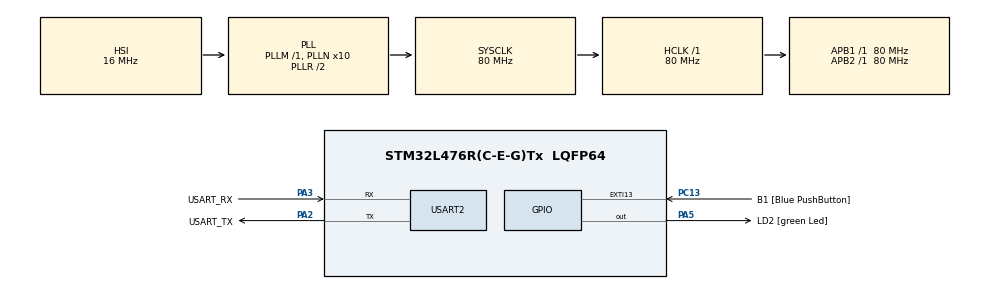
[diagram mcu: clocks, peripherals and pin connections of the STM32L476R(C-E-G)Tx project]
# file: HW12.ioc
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Mcu.Family=STM32L4
Mcu.Name=STM32L476R(C-E-G)Tx
Mcu.Package=LQFP64
NVIC.PriorityGroup=NVIC_PRIORITYGROUP_4
PA13\ (JTMS-SWDIO).GPIO_Label=TMS
PA13\ (JTMS-SWDIO).Mode=Serial_Wire
PA13\ (JTMS-SWDIO).Signal=SYS_JTMS-SWDIO
PA14\ (JTCK-SWCLK).GPIO_Label=TCK
PA14\ (JTCK-SWCLK).Mode=Serial_Wire
PA14\ (JTCK-SWCLK).Signal=SYS_JTCK-SWCLK
PA2.GPIO_Label=USART_TX
PA2.GPIO_Mode=GPIO_MODE_AF_PP
PA2.GPIO_PuPd=GPIO_NOPULL
PA2.GPIO_Speed=GPIO_SPEED_FREQ_VERY_HIGH
PA2.Mode=Asynchronous
PA2.Signal=USART2_TX
PA3.GPIO_Label=USART_RX
PA3.GPIO_Mode=GPIO_MODE_AF_PP
PA3.GPIO_PuPd=GPIO_NOPULL
PA3.GPIO_Speed=GPIO_SPEED_FREQ_VERY_HIGH
PA3.Mode=Asynchronous
PA3.Signal=USART2_RX
PA5.GPIO_Label=LD2 [green Led]
PA5.GPIO_ModeDefaultOutputPP=GPIO_MODE_OUTPUT_PP
PA5.GPIO_PuPd=GPIO_NOPULL
PA5.GPIO_Speed=GPIO_SPEED_FREQ_LOW
PA5.Signal=GPIO_Output
PB3\ (JTDO-TRACESWO).GPIO_Label=SWO
PB3\ (JTDO-TRACESWO).Signal=SYS_JTDO-SWO
PB8.GPIO_Label=CAN_RX
PB8.GPIO_Mode=GPIO_MODE_AF_PP
PB8.GPIO_PuPd=GPIO_PULLUP
PB8.GPIO_Speed=GPIO_SPEED_FREQ_VERY_HIGH
PB8.Signal=CAN1_RX
PB9.GPIO_Label=CAN_TX
PB9.GPIO_Mode=GPIO_MODE_AF_PP
PB9.GPIO_PuPd=GPIO_PULLUP
PB9.GPIO_Speed=GPIO_SPEED_FREQ_VERY_HIGH
PB9.Signal=CAN1_TX
PC13.GPIO_Label=B1 [Blue PushButton]
PC13.GPIO_ModeDefaultEXTI=GPIO_MODE_IT_FALLING
PC13.GPIO_PuPd=GPIO_NOPULL
PC13.Signal=GPXTI13
PC14-OSC32_IN\ (PC14).Mode=LSE-External-Oscillator
PC14-OSC32_IN\ (PC14).Signal=RCC_OSC32_IN
PC15-OSC32_OUT\ (PC15).Mode=LSE-External-Oscillator
PC15-OSC32_OUT\ (PC15).Signal=RCC_OSC32_OUT
PH0-OSC_IN\ (PH0).Signal=RCC_OSC_IN
PH1-OSC_OUT\ (PH1).Signal=RCC_OSC_OUT
ProjectManager.HeapSize=0x200
ProjectManager.StackSize=0x400
ProjectManager.TargetToolchain=CMake
RCC.ADCFreq_Value=64000000
RCC.AHBFreq_Value=80000000
RCC.APB1Freq_Value=80000000
RCC.APB1TimFreq_Value=80000000
RCC.APB2Freq_Value=80000000
RCC.APB2TimFreq_Value=80000000
RCC.CortexFreq_Value=80000000
RCC.HCLKFreq_Value=80000000
RCC.HSE_VALUE=8000000
RCC.HSI_VALUE=16000000
RCC.MSI_VALUE=4000000
RCC.PLLN=10
RCC.PLLSourceVirtual=RCC_PLLSOURCE_HSI
RCC.PREFETCH_ENABLE=1
RCC.SYSCLKFreq_VALUE=80000000
RCC.SYSCLKSource=RCC_SYSCLKSOURCE_PLLCLK
RCC.USBFreq_Value=64000000
RCC.VCOOutputFreq_Value=160000000
USART2.VirtualMode-Asynchronous=VM_ASYNC
board=NUCLEO-L476RG

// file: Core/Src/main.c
/* USER CODE BEGIN Header */
/**
  ******************************************************************************
  * @file           : main.c
  * @brief          : Main program body
  ******************************************************************************
  * @attention
  *
  * Copyright (c) 2026 STMicroelectronics.
  * All rights reserved.
  *
  * This software is licensed under terms that can be found in the LICENSE file
  * in the root directory of this software component.
  * If no LICENSE file comes with this software, it is provided AS-IS.
  *
  ******************************************************************************
  */
/* USER CODE END Header */
#include "main.h"

/* USER CODE BEGIN Includes */
#include <stdio.h>
#include <string.h>

/* USER CODE END Includes */

/* USER CODE BEGIN PD */
#define CAN_MESSAGE_ID          0x433U
#define CAN_SELF_TEST_ID        0x55AU
#define CAN_BAUD_RATE          250000U
#define BUTTON_DEBOUNCE_MS     200U
#define CAN_SELF_TEST_TIMEOUT_MS 200U
#define CAN_TX_TIMEOUT_MS      1000U
#define UART_TX_TIMEOUT_MS     100U

/* USER CODE END PD */

CAN_HandleTypeDef hcan1;

UART_HandleTypeDef huart2;

/* USER CODE BEGIN PV */
static CAN_TxHeaderTypeDef TxHeader;
static CAN_RxHeaderTypeDef RxHeader;
static uint8_t TxData[8] = { 'H', 'W', '1', '2', 'L', '4', '7', '6' };
static uint8_t SelfTestData[8] = { 'L', 'O', 'O', 'P', 'B', 'A', 'C', 'K' };
static uint8_t RxData[8];
static uint32_t TxMailbox;
static uint8_t TxPending;
static uint32_t TxStartTick;

/* USER CODE END PV */

void SystemClock_Config(void);
static void MX_CAN1_Init(void);
static void MX_GPIO_Init(void);
static void MX_USART2_UART_Init(void);
/* USER CODE BEGIN PFP */
static void CAN_InitForMode(uint32_t mode);
static void CAN_ConfigFilter(void);
static void CAN_ConfigNormalMode(void);
static uint8_t CAN_InternalLoopbackSelfTest(void);
static void CAN_PollReceive(void);
static void CAN_SendButtonMessage(void);
static void CAN_ServiceTxStatus(void);
static uint8_t ButtonPressed(void);
static void UART_Print(const char *message);
static void UART_PrintFrame(const char *prefix, const CAN_RxHeaderTypeDef *header, const uint8_t *data);
static void UART_PrintTxFrame(const char *prefix, const CAN_TxHeaderTypeDef *header, const uint8_t *data);

/* USER CODE END PFP */

int main(void)
{

  /* MCU Configuration--------------------------------------------------------*/

  /* Reset of all peripherals, Initializes the Flash interface and the Systick. */
  HAL_Init();

  /* Configure the system clock */
  SystemClock_Config();

  /* Initialize all configured peripherals */
  MX_GPIO_Init();
  MX_USART2_UART_Init();
  MX_CAN1_Init();
  /* USER CODE BEGIN 2 */
  if (CAN_InternalLoopbackSelfTest() != 0U)
  {
    UART_Print("CAN INTERNAL LOOPBACK PASS\r\n");
  }
  else
  {
    UART_Print("CAN INTERNAL LOOPBACK FAIL\r\n");
  }

  CAN_ConfigNormalMode();
  UART_Print("\r\nHW12 CAN ready: CAN1 PB8/PB9, 250 kbit/s, ID 0x433\r\n");

  /* USER CODE END 2 */

  /* Infinite loop */
  while (1)
  {

    /* USER CODE BEGIN 3 */
    CAN_PollReceive();
    CAN_ServiceTxStatus();

    if (ButtonPressed())
    {
      CAN_SendButtonMessage();
    }
  }
  /* USER CODE END 3 */
}

static void MX_CAN1_Init(void)
{

  CAN_InitForMode(CAN_MODE_NORMAL);

}

void SystemClock_Config(void)
{
  RCC_OscInitTypeDef RCC_OscInitStruct = {0};
  RCC_ClkInitTypeDef RCC_ClkInitStruct = {0};

  /** Configure the main internal regulator output voltage
  */
  if (HAL_PWREx_ControlVoltageScaling(PWR_REGULATOR_VOLTAGE_SCALE1) != HAL_OK)
  {
    Error_Handler();
  }

  /** Initializes the RCC Oscillators according to the specified parameters
  * in the RCC_OscInitTypeDef structure.
  */
  RCC_OscInitStruct.OscillatorType = RCC_OSCILLATORTYPE_HSI;
  RCC_OscInitStruct.HSIState = RCC_HSI_ON;
  RCC_OscInitStruct.HSICalibrationValue = RCC_HSICALIBRATION_DEFAULT;
  RCC_OscInitStruct.PLL.PLLState = RCC_PLL_ON;
  RCC_OscInitStruct.PLL.PLLSource = RCC_PLLSOURCE_HSI;
  RCC_OscInitStruct.PLL.PLLM = 1;
  RCC_OscInitStruct.PLL.PLLN = 10;
  RCC_OscInitStruct.PLL.PLLP = RCC_PLLP_DIV7;
  RCC_OscInitStruct.PLL.PLLQ = RCC_PLLQ_DIV2;
  RCC_OscInitStruct.PLL.PLLR = RCC_PLLR_DIV2;
  if (HAL_RCC_OscConfig(&RCC_OscInitStruct) != HAL_OK)
  {
    Error_Handler();
  }

  /** Initializes the CPU, AHB and APB buses clocks
  */
  RCC_ClkInitStruct.ClockType = RCC_CLOCKTYPE_HCLK|RCC_CLOCKTYPE_SYSCLK
                              |RCC_CLOCKTYPE_PCLK1|RCC_CLOCKTYPE_PCLK2;
  RCC_ClkInitStruct.SYSCLKSource = RCC_SYSCLKSOURCE_PLLCLK;
  RCC_ClkInitStruct.AHBCLKDivider = RCC_SYSCLK_DIV1;
  RCC_ClkInitStruct.APB1CLKDivider = RCC_HCLK_DIV1;
  RCC_ClkInitStruct.APB2CLKDivider = RCC_HCLK_DIV1;

  if (HAL_RCC_ClockConfig(&RCC_ClkInitStruct, FLASH_LATENCY_4) != HAL_OK)
  {
    Error_Handler();
  }
}

static void MX_USART2_UART_Init(void)
{

  huart2.Instance = USART2;
  huart2.Init.BaudRate = 115200;
  huart2.Init.WordLength = UART_WORDLENGTH_8B;
  huart2.Init.StopBits = UART_STOPBITS_1;
  huart2.Init.Parity = UART_PARITY_NONE;
  huart2.Init.Mode = UART_MODE_TX_RX;
  huart2.Init.HwFlowCtl = UART_HWCONTROL_NONE;
  huart2.Init.OverSampling = UART_OVERSAMPLING_16;
  huart2.Init.OneBitSampling = UART_ONE_BIT_SAMPLE_DISABLE;
  huart2.AdvancedInit.AdvFeatureInit = UART_ADVFEATURE_NO_INIT;
  if (HAL_UART_Init(&huart2) != HAL_OK)
  {
    Error_Handler();
  }

}

static void MX_GPIO_Init(void)
{
  GPIO_InitTypeDef GPIO_InitStruct = {0};

  /* GPIO Ports Clock Enable */
  __HAL_RCC_GPIOC_CLK_ENABLE();
  __HAL_RCC_GPIOH_CLK_ENABLE();
  __HAL_RCC_GPIOA_CLK_ENABLE();
  __HAL_RCC_GPIOB_CLK_ENABLE();

  /*Configure GPIO pin Output Level */
  HAL_GPIO_WritePin(LD2_GPIO_Port, LD2_Pin, GPIO_PIN_RESET);

  /*Configure GPIO pin : B1_Pin */
  GPIO_InitStruct.Pin = B1_Pin;
  GPIO_InitStruct.Mode = GPIO_MODE_IT_FALLING;
  GPIO_InitStruct.Pull = GPIO_NOPULL;
  HAL_GPIO_Init(B1_GPIO_Port, &GPIO_InitStruct);

  /*Configure GPIO pin : LD2_Pin */
  GPIO_InitStruct.Pin = LD2_Pin;
  GPIO_InitStruct.Mode = GPIO_MODE_OUTPUT_PP;
  GPIO_InitStruct.Pull = GPIO_NOPULL;
  GPIO_InitStruct.Speed = GPIO_SPEED_FREQ_LOW;
  HAL_GPIO_Init(LD2_GPIO_Port, &GPIO_InitStruct);

}

/* USER CODE BEGIN 4 */
static void CAN_InitForMode(uint32_t mode)
{
  hcan1.Instance = CAN1;
  hcan1.Init.Prescaler = 20;
  hcan1.Init.Mode = mode;
  hcan1.Init.SyncJumpWidth = CAN_SJW_1TQ;
  hcan1.Init.TimeSeg1 = CAN_BS1_13TQ;
  hcan1.Init.TimeSeg2 = CAN_BS2_2TQ;
  hcan1.Init.TimeTriggeredMode = DISABLE;
  hcan1.Init.AutoBusOff = ENABLE;
  hcan1.Init.AutoWakeUp = DISABLE;
  hcan1.Init.AutoRetransmission = ENABLE;
  hcan1.Init.ReceiveFifoLocked = DISABLE;
  hcan1.Init.TransmitFifoPriority = DISABLE;

  if (HAL_CAN_Init(&hcan1) != HAL_OK)
  {
    Error_Handler();
  }
}

static void CAN_ConfigFilter(void)
{
  CAN_FilterTypeDef filter = {0};

  filter.FilterBank = 0;
  filter.FilterMode = CAN_FILTERMODE_IDMASK;
  filter.FilterScale = CAN_FILTERSCALE_32BIT;
  filter.FilterIdHigh = 0x0000;
  filter.FilterIdLow = 0x0000;
  filter.FilterMaskIdHigh = 0x0000;
  filter.FilterMaskIdLow = 0x0000;
  filter.FilterFIFOAssignment = CAN_RX_FIFO0;
  filter.FilterActivation = ENABLE;
  filter.SlaveStartFilterBank = 14;

  if (HAL_CAN_ConfigFilter(&hcan1, &filter) != HAL_OK)
  {
    Error_Handler();
  }
}

static void CAN_ConfigNormalMode(void)
{
  HAL_CAN_DeInit(&hcan1);
  CAN_InitForMode(CAN_MODE_NORMAL);
  CAN_ConfigFilter();

  if (HAL_CAN_Start(&hcan1) != HAL_OK)
  {
    Error_Handler();
  }

  TxHeader.StdId = CAN_MESSAGE_ID;
  TxHeader.ExtId = 0;
  TxHeader.IDE = CAN_ID_STD;
  TxHeader.RTR = CAN_RTR_DATA;
  TxHeader.DLC = sizeof(TxData);
  TxHeader.TransmitGlobalTime = DISABLE;
  TxPending = 0U;
}

static uint8_t CAN_InternalLoopbackSelfTest(void)
{
  CAN_TxHeaderTypeDef selfTxHeader = {0};
  CAN_RxHeaderTypeDef selfRxHeader = {0};
  uint8_t selfRxData[8] = {0};
  uint32_t selfTxMailbox = 0U;
  uint32_t startTick = 0U;
  uint8_t passed = 0U;

  HAL_CAN_DeInit(&hcan1);
  CAN_InitForMode(CAN_MODE_LOOPBACK);
  CAN_ConfigFilter();

  if (HAL_CAN_Start(&hcan1) != HAL_OK)
  {
    return 0U;
  }

  selfTxHeader.StdId = CAN_SELF_TEST_ID;
  selfTxHeader.ExtId = 0U;
  selfTxHeader.IDE = CAN_ID_STD;
  selfTxHeader.RTR = CAN_RTR_DATA;
  selfTxHeader.DLC = sizeof(SelfTestData);
  selfTxHeader.TransmitGlobalTime = DISABLE;

  if (HAL_CAN_AddTxMessage(&hcan1, &selfTxHeader, SelfTestData, &selfTxMailbox) == HAL_OK)
  {
    startTick = HAL_GetTick();
    while ((HAL_GetTick() - startTick) < CAN_SELF_TEST_TIMEOUT_MS)
    {
      if (HAL_CAN_GetRxFifoFillLevel(&hcan1, CAN_RX_FIFO0) > 0U)
      {
        if (HAL_CAN_GetRxMessage(&hcan1, CAN_RX_FIFO0, &selfRxHeader, selfRxData) == HAL_OK)
        {
          passed = ((selfRxHeader.StdId == CAN_SELF_TEST_ID) &&
                    (selfRxHeader.IDE == CAN_ID_STD) &&
                    (selfRxHeader.DLC == sizeof(SelfTestData)) &&
                    (memcmp(selfRxData, SelfTestData, sizeof(SelfTestData)) == 0)) ? 1U : 0U;
        }
        break;
      }
    }

    if (HAL_CAN_IsTxMessagePending(&hcan1, selfTxMailbox) != 0U)
    {
      HAL_CAN_AbortTxRequest(&hcan1, selfTxMailbox);
    }
  }

  HAL_CAN_Stop(&hcan1);
  HAL_CAN_DeInit(&hcan1);
  HAL_CAN_ResetError(&hcan1);

  return passed;
}

static void CAN_PollReceive(void)
{
  while (HAL_CAN_GetRxFifoFillLevel(&hcan1, CAN_RX_FIFO0) > 0U)
  {
    if (HAL_CAN_GetRxMessage(&hcan1, CAN_RX_FIFO0, &RxHeader, RxData) != HAL_OK)
    {
      UART_Print("CAN RX error\r\n");
      return;
    }

    HAL_GPIO_TogglePin(LD2_GPIO_Port, LD2_Pin);
    UART_PrintFrame("RX", &RxHeader, RxData);
  }
}

static void CAN_SendButtonMessage(void)
{
  if (TxPending != 0U)
  {
    UART_Print("TX still pending; waiting for CAN ACK\r\n");
    return;
  }

  if (HAL_CAN_GetTxMailboxesFreeLevel(&hcan1) == 0U)
  {
    UART_Print("CAN TX mailbox full\r\n");
    return;
  }

  if (HAL_CAN_AddTxMessage(&hcan1, &TxHeader, TxData, &TxMailbox) != HAL_OK)
  {
    UART_Print("CAN TX request failed\r\n");
    HAL_CAN_ResetError(&hcan1);
    return;
  }

  TxPending = 1U;
  TxStartTick = HAL_GetTick();
  HAL_GPIO_WritePin(LD2_GPIO_Port, LD2_Pin, GPIO_PIN_RESET);
  UART_PrintTxFrame("TX", &TxHeader, TxData);
}

static void CAN_ServiceTxStatus(void)
{
  char line[64];

  if (TxPending == 0U)
  {
    return;
  }

  if (HAL_CAN_IsTxMessagePending(&hcan1, TxMailbox) == 0U)
  {
    uint32_t error = HAL_CAN_GetError(&hcan1);

    TxPending = 0U;
    if (error == HAL_CAN_ERROR_NONE)
    {
      HAL_GPIO_WritePin(LD2_GPIO_Port, LD2_Pin, GPIO_PIN_SET);
      UART_Print("TX complete\r\n");
    }
    else
    {
      snprintf(line, sizeof(line), "CAN TX error: 0x%08lX\r\n", (unsigned long)error);
      UART_Print(line);
      HAL_CAN_ResetError(&hcan1);
    }
    return;
  }

  if ((HAL_GetTick() - TxStartTick) > CAN_TX_TIMEOUT_MS)
  {
    HAL_CAN_AbortTxRequest(&hcan1, TxMailbox);
    TxPending = 0U;
    HAL_GPIO_WritePin(LD2_GPIO_Port, LD2_Pin, GPIO_PIN_RESET);
    UART_Print("CAN TX timeout; check bus wiring, termination, and another active node\r\n");
    HAL_CAN_ResetError(&hcan1);
  }
}

static uint8_t ButtonPressed(void)
{
  static GPIO_PinState lastState = GPIO_PIN_SET;
  static uint32_t lastPressTick = 0U;
  GPIO_PinState state = HAL_GPIO_ReadPin(B1_GPIO_Port, B1_Pin);
  uint32_t now = HAL_GetTick();
  uint8_t pressed = 0U;

  if ((lastState == GPIO_PIN_SET) && (state == GPIO_PIN_RESET) &&
      ((now - lastPressTick) > BUTTON_DEBOUNCE_MS))
  {
    pressed = 1U;
    lastPressTick = now;
  }

  lastState = state;
  return pressed;
}

static void UART_Print(const char *message)
{
  HAL_UART_Transmit(&huart2, (uint8_t *)message, (uint16_t)strlen(message), UART_TX_TIMEOUT_MS);
}

static void UART_PrintFrame(const char *prefix, const CAN_RxHeaderTypeDef *header, const uint8_t *data)
{
  char line[128];
  int len = snprintf(line, sizeof(line),
                     "%s ID=0x%03lX DLC=%lu DATA=%02X %02X %02X %02X %02X %02X %02X %02X\r\n",
                     prefix,
                     (unsigned long)header->StdId,
                     (unsigned long)header->DLC,
                     data[0], data[1], data[2], data[3],
                     data[4], data[5], data[6], data[7]);

  if (len > 0)
  {
    HAL_UART_Transmit(&huart2, (uint8_t *)line, (uint16_t)len, UART_TX_TIMEOUT_MS);
  }
}

static void UART_PrintTxFrame(const char *prefix, const CAN_TxHeaderTypeDef *header, const uint8_t *data)
{
  CAN_RxHeaderTypeDef printHeader = {0};

  printHeader.StdId = header->StdId;
  printHeader.DLC = header->DLC;
  UART_PrintFrame(prefix, &printHeader, data);
}

/* USER CODE END 4 */

void Error_Handler(void)
{
  __disable_irq();
  while (1)
  {
  }
}
